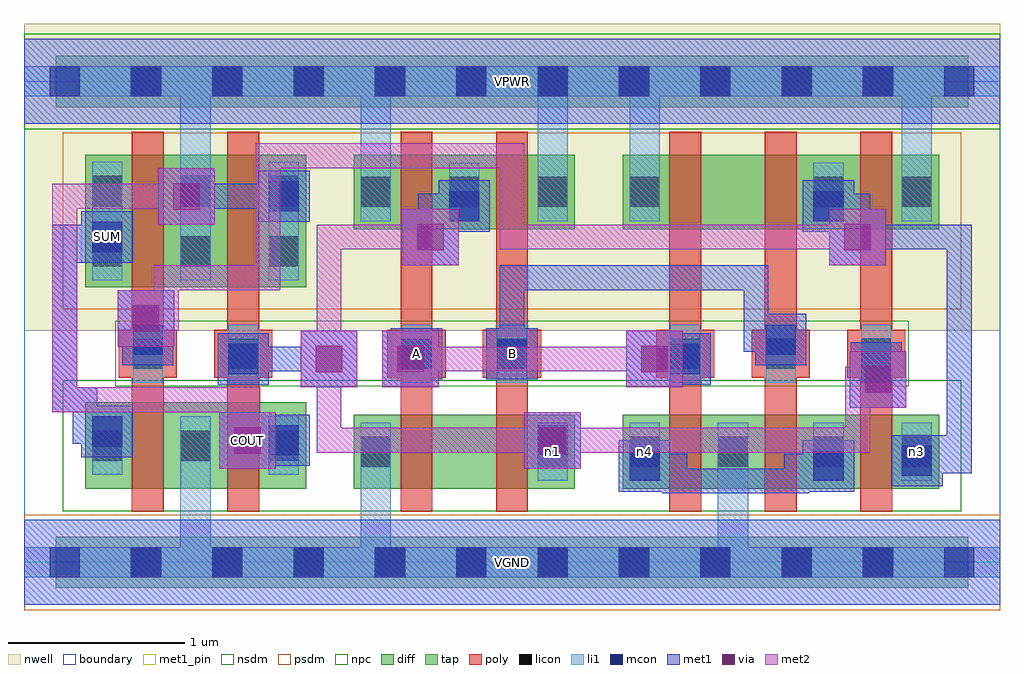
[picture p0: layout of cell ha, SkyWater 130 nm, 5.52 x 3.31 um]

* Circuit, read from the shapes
.subckt ha A B COUT SUM VGND VPWR n1 n3 n4
XM1 VGND n3 SUM VGND sky130_fd_pr__nfet_01v8 w=0.49 l=0.18
XM2 COUT n1 VGND VGND sky130_fd_pr__nfet_01v8 w=0.49 l=0.18
XM3 n2 A VGND VGND sky130_fd_pr__nfet_01v8 w=0.42 l=0.18
XM4 n1 B n2 VGND sky130_fd_pr__nfet_01v8 w=0.42 l=0.18
XM5 VGND A n4 VGND sky130_fd_pr__nfet_01v8 w=0.42 l=0.18
XM6 n4 B VGND VGND sky130_fd_pr__nfet_01v8 w=0.42 l=0.18
XM7 n3 n1 n4 VGND sky130_fd_pr__nfet_01v8 w=0.42 l=0.18
XM8 VPWR n3 SUM VPWR sky130_fd_pr__pfet_01v8 w=0.75 l=0.18
XM9 COUT n1 VPWR VPWR sky130_fd_pr__pfet_01v8 w=0.75 l=0.18
XM10 n1 A VPWR VPWR sky130_fd_pr__pfet_01v8 w=0.42 l=0.18
XM11 VPWR B n1 VPWR sky130_fd_pr__pfet_01v8 w=0.42 l=0.18
XM12 n5 A VPWR VPWR sky130_fd_pr__pfet_01v8 w=0.42 l=0.18
XM13 n3 B n5 VPWR sky130_fd_pr__pfet_01v8 w=0.42 l=0.18
XM14 VPWR n1 n3 VPWR sky130_fd_pr__pfet_01v8 w=0.42 l=0.18
.ends

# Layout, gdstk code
import gdstk
lib = gdstk.Library(unit=1e-6, precision=1e-09)
def R(c, l, rs):  # rectangles x0, y0, x1, y1
    for r in rs: c.add(gdstk.rectangle(r[:2], r[2:], *l))
def A(c, l, x, y, w, h, nx, ny, dx, dy):  # array of equal rectangles
    R(c, l, [(x+i*dx, y+j*dy, x+i*dx+w, y+j*dy+h) for i in range(nx) for j in range(ny)])
nwell = (64, 20)
diff = (65, 20)
tap = (65, 44)
poly = (66, 20)
licon = (66, 44)
li1 = (67, 20)
mcon = (67, 44)
met1_pin = (68, 16)
met1 = (68, 20)
via = (68, 44)
met2 = (69, 20)
nsdm = (93, 44)
psdm = (94, 20)
npc = (95, 20)
boundary = (235, 4)

c_ha = lib.new_cell('ha')
R(c_ha, nwell, [(0,1.31,5.52,3.045)])
R(c_ha, diff, [(0.345,0.415,1.595,0.905), (1.865,0.415,3.115,0.835), (3.385,0.415,5.175,0.835), (0.345,1.555,1.595,2.305), (1.865,1.885,3.115,2.305), (3.385,1.885,5.175,2.305)])
R(c_ha, tap, [(0.18,-0.145,5.34,0.145), (0.18,2.575,5.34,2.865)])
A(c_ha, poly, 3.65, 0.285, 0.18, 2.15, 3, 1, 0.54, 0)
A(c_ha, poly, 3.575, 1.045, 0.33, 0.27, 3, 1, 0.54, 0)
R(c_ha, poly, [(0.61,0.285,0.79,2.435), (1.15,0.285,1.33,2.435), (2.13,0.285,2.31,2.435), (2.67,0.285,2.85,2.435), (0.535,1.045,0.865,1.315), (1.075,1.045,1.405,1.315), (2.055,1.045,2.385,1.315), (2.595,1.045,2.925,1.315)])
A(c_ha, licon, 0.605, -0.085, 0.17, 0.17, 10, 2, 0.46, 2.72)
A(c_ha, licon, 0.385, 0.575, 0.17, 0.17, 3, 2, 0.5, 1.1)
A(c_ha, licon, 3.655, 1.095, 0.17, 0.17, 3, 1, 0.54, 0)
A(c_ha, licon, 1.905, 2.01, 0.17, 0.17, 3, 1, 0.5, 0)
A(c_ha, licon, 0.385, 2.015, 0.17, 0.17, 3, 1, 0.5, 0)
R(c_ha, licon, [(1.905,0.54,2.075,0.71), (2.905,0.54,3.075,0.71), (3.425,0.54,3.595,0.71), (3.925,0.54,4.095,0.71), (4.465,0.54,4.635,0.71), (4.965,0.54,5.135,0.71), (0.615,1.095,0.785,1.265), (1.155,1.095,1.325,1.265), (2.135,1.095,2.305,1.265), (2.675,1.095,2.845,1.265), (3.425,2.01,3.595,2.18), (4.465,2.01,4.635,2.18), (4.965,2.01,5.135,2.18)])
A(c_ha, li1, 0.385, 0.495, 0.17, 0.33, 3, 1, 0.5, 0)
A(c_ha, li1, 3.655, 1.015, 0.17, 0.33, 3, 1, 0.54, 0)
A(c_ha, li1, 0.385, 1.595, 0.17, 0.67, 3, 1, 0.5, 0)
A(c_ha, li1, 1.905, 1.93, 0.17, 0.33, 3, 1, 0.5, 0)
R(c_ha, li1, [(0,-0.085,5.52,0.085), (0.885,-0.085,1.055,0.825), (1.905,-0.085,2.075,0.79), (3.925,-0.085,4.095,0.79), (1.905,0.46,2.075,0.79), (2.905,0.46,3.075,0.79), (3.425,0.46,3.595,0.79), (3.925,0.46,4.095,0.79), (4.465,0.46,4.635,0.79), (4.965,0.46,5.135,0.79), (0.615,1.015,0.785,1.345), (1.155,1.015,1.325,1.345), (2.135,1.015,2.305,1.345), (2.675,1.015,2.845,1.345), (0.885,1.595,1.055,2.805), (1.905,1.93,2.075,2.805), (2.905,1.93,3.075,2.805), (3.425,1.93,3.595,2.26), (3.425,1.93,3.595,2.805), (4.465,1.93,4.635,2.26), (4.965,1.93,5.135,2.26), (4.965,1.93,5.135,2.805), (0,2.635,5.52,2.805)])
A(c_ha, mcon, 0.145, -0.085, 0.17, 0.17, 12, 2, 0.46, 2.72)
R(c_ha, mcon, [(3.425,0.46,3.595,0.63), (4.465,0.46,4.635,0.63), (4.965,0.49,5.135,0.66), (1.385,0.605,1.555,0.775), (2.905,0.605,3.075,0.775), (0.385,0.655,0.555,0.825), (4.735,1.015,4.905,1.185), (1.155,1.065,1.325,1.235), (3.655,1.065,3.825,1.235), (2.135,1.095,2.305,1.265), (2.675,1.095,2.845,1.265), (0.615,1.175,0.785,1.345), (4.195,1.175,4.365,1.345), (0.385,1.755,0.555,1.925), (2.405,1.93,2.575,2.1), (4.465,1.93,4.635,2.1), (1.385,1.985,1.555,2.155)])
R(c_ha, met1_pin, [(0,-0.24,5.52,0.24), (1.105,0.53,1.425,0.85), (2.075,1.035,2.365,1.325), (2.615,1.035,2.905,1.325), (0.325,1.695,0.615,1.985), (0,2.48,5.52,2.96)])
R(c_ha, met1, [(0,-0.24,5.52,0.24), (3.61,0.39,3.75,0.615), (3.61,0.39,4.44,0.53), (4.3,0.39,4.44,0.615), (3.365,0.4,3.655,0.69), (4.405,0.4,4.695,0.69), (4.905,0.43,5.195,0.72), (3.44,0.475,3.75,0.615), (4.3,0.475,4.62,0.615), (4.98,0.505,5.245,0.645), (5.105,0.505,5.36,0.645), (5.195,0.505,5.22,0.72), (5.22,0.505,5.36,1.91), (1.105,0.53,1.425,0.85), (2.83,0.53,3.15,0.85), (1.325,0.545,1.615,0.835), (2.845,0.545,3.135,0.835), (0.325,0.595,0.615,0.885), (1.195,0.62,1.45,0.76), (1.31,0.62,1.54,0.76), (0.275,0.67,0.54,0.81), (0.275,0.67,0.415,0.99), (0.16,0.85,0.415,0.99), (0.16,0.85,0.3,1.91), (4.67,0.875,4.99,1.195), (4.675,0.955,4.965,1.245), (4.76,0.965,4.9,1.17), (1.565,0.99,1.885,1.31), (2.025,0.99,2.345,1.31), (3.405,0.99,3.725,1.31), (1.095,1.005,1.385,1.295), (3.595,1.005,3.885,1.295), (4.75,1.03,4.9,1.17), (2.075,1.035,2.365,1.325), (2.615,1.035,2.905,1.325), (1.17,1.08,1.45,1.22), (1.31,1.08,1.795,1.22), (2.115,1.08,2.255,1.22), (2.69,1.08,2.83,1.22), (2.69,1.08,2.83,1.68), (3.495,1.08,3.81,1.22), (0.555,1.115,0.845,1.405), (4.135,1.115,4.425,1.405), (0.62,1.19,0.77,1.33), (0.62,1.19,0.76,1.45), (4.07,1.19,4.35,1.33), (4.07,1.19,4.21,1.45), (0.53,1.22,0.85,1.54), (4.07,1.31,4.21,1.68), (2.69,1.54,4.21,1.68), (2.14,1.68,2.46,2), (4.555,1.68,4.875,2), (0.3,1.695,0.325,1.91), (0.325,1.695,0.615,1.985), (0.16,1.77,0.415,1.91), (0.275,1.77,0.54,1.91), (2.23,1.77,2.37,2.085), (4.645,1.77,4.785,2.085), (4.645,1.77,5.36,1.91), (2.345,1.87,2.635,2.16), (4.405,1.87,4.695,2.16), (0.76,1.91,1.08,2.23), (1.325,1.925,1.615,2.215), (2.23,1.945,2.56,2.085), (4.48,1.945,4.785,2.085), (0.85,2,1.45,2.14), (1.31,2,1.54,2.14), (0,2.48,5.52,2.96)])
R(c_ha, via, [(1.19,0.615,1.34,0.765), (2.915,0.615,3.065,0.765), (4.755,0.96,4.905,1.11), (1.65,1.075,1.8,1.225), (2.11,1.075,2.26,1.225), (3.49,1.075,3.64,1.225), (0.615,1.305,0.765,1.455), (2.225,1.765,2.375,1.915), (4.64,1.765,4.79,1.915), (0.845,1.995,0.995,2.145)])
R(c_ha, met2, [(1.105,0.53,1.425,0.85), (2.83,0.53,3.15,0.85), (1.195,0.62,1.335,0.99), (1.655,0.62,3.06,0.76), (1.655,0.62,1.795,1.22), (2.92,0.62,4.785,0.76), (4.645,0.62,4.785,1.105), (0.16,0.85,1.335,0.99), (0.16,0.85,0.3,2.14), (4.67,0.875,4.99,1.195), (4.645,0.965,4.9,1.105), (1.565,0.99,1.885,1.31), (2.025,0.99,2.345,1.31), (3.405,0.99,3.725,1.31), (1.655,1.08,1.795,1.91), (2.115,1.08,3.635,1.22), (0.53,1.22,0.85,1.54), (0.62,1.31,0.875,1.45), (0.735,1.31,0.875,1.68), (0.735,1.54,1.45,1.68), (1.31,1.54,1.45,2.37), (2.14,1.68,2.46,2), (4.555,1.68,4.875,2), (1.655,1.77,2.37,1.91), (2.69,1.77,2.83,2.37), (2.69,1.77,4.785,1.91), (0.76,1.91,1.08,2.23), (0.16,2,0.99,2.14), (1.31,2.23,2.83,2.37)])
R(c_ha, nsdm, [(0.22,0.29,5.3,1.03), (0,2.45,5.52,2.99)])
R(c_ha, psdm, [(0,-0.27,5.52,0.27), (0.22,1.43,5.3,2.43)])
R(c_ha, npc, [(0.515,0.995,5.005,1.365)])
R(c_ha, boundary, [(0,0,5.52,2.72)])
c_ha.add(gdstk.Label('n1', (2.99,0.625), layer=67, texttype=5))
c_ha.add(gdstk.Label('n4', (3.51,0.625), layer=67, texttype=5))
c_ha.add(gdstk.Label('n3', (5.05,0.625), layer=67, texttype=5))
c_ha.add(gdstk.Label('A', (2.22,1.18), layer=68, texttype=5))
c_ha.add(gdstk.Label('B', (2.76,1.18), layer=68, texttype=5))
c_ha.add(gdstk.Label('SUM', (0.47,1.84), layer=68, texttype=5))
c_ha.add(gdstk.Label('COUT', (1.265,0.69), layer=68, texttype=5))
c_ha.add(gdstk.Label('VPWR', (2.76,2.72), layer=68, texttype=5))
c_ha.add(gdstk.Label('VGND', (2.76,0), layer=68, texttype=5))
c_ha.add(gdstk.Label('A', (2.22,1.18), layer=68, texttype=16))
c_ha.add(gdstk.Label('B', (2.76,1.18), layer=68, texttype=16))
c_ha.add(gdstk.Label('SUM', (0.47,1.84), layer=68, texttype=16))
c_ha.add(gdstk.Label('COUT', (1.265,0.69), layer=68, texttype=16))
c_ha.add(gdstk.Label('VPWR', (2.76,2.72), layer=68, texttype=16))
c_ha.add(gdstk.Label('VGND', (2.76,0), layer=68, texttype=16))

lib.write_gds('ha.gds')
